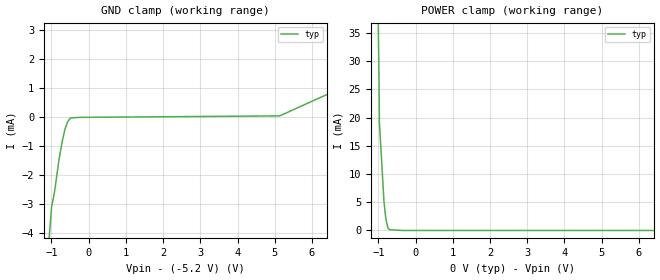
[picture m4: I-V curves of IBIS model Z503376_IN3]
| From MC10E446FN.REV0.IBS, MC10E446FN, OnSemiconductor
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| (C) COPYRIGHT 1993-2000
| MENTOR GRAPHICS CORPORATION
| ICX STANDARD LIBRARY, ICX PROJECT MODELING,
| ICX CUSTOM MODELING, ICX VENDOR MODEL
| ALL RIGHTS RESERVED.
| THE FOLLOWING ARE TRADEMARKS OR SERVICE MARKS OF
| MENTOR GRAPHICS CORPORATION:ICX (R), ICX STANDARD
| LIBRARY(R), ICX PROJECT MODELING(R), ICX CUSTOM
| MODELING(R), qualityIBIS(TM), MODELVIEWER(TM),
| AND MODELEDITOR(TM)
| ALL COPIES OF SOFTWARE, INCLUDING BUT NOT LIMITED TO
| ANY MODIFICATIONS, ENHANCEMENTS OR DERIVATIVE WORKS,
| MUST CONTAIN ALL MENTOR GRAPHICS CORPORATION'S
| NOTICES AND LEGENDS, INCLUDING THOSE EMBEDDED IN
| SOFTWARE AND THOSE AFFIXED TO SOFTWARE MEDIUM
| AND CONTAINER, AS RECEIVED FROM MENTOR GRAPHICS
| CORPORATION.
| Model Application Version 1.89 2/18/99.
[Model] Z503376_IN3
Model_type Input_ECL
Vinl = -1.475V
Vinh = -1.165V
C_comp 4.000pF NA NA
| variable typ   min   max
[Voltage Range] -5.200V NA NA
[GND Clamp Reference] -5.200V NA NA
[POWER Clamp Reference] 0.000V NA NA
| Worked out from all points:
|   GND clamp passes 1 mA (typ) near -0.73 V on its own axis
|   POWER clamp passes 1 mA (typ) near -0.76 V on its own axis
[GND Clamp]
-5.2V     -164.7mA   NA         NA
-1.152V   -5.669mA   NA         NA
-997mV    -3.105mA   NA         NA
-919mV    -2.601mA   NA         NA
-796mV    -1.463mA   NA         NA
-718mV    -892.1uA   NA         NA
-645mV    -462.2uA   NA         NA
-569mV    -170.7uA   NA         NA
-488mV    -35.19uA   NA         NA
5.132V    37.23uA    NA         NA
10.4V     3.099mA    NA         NA
[POWER Clamp]
-5.2V     2.059A     NA         NA
-982.7mV  27.25mA    NA         NA
-971.3mV  19.1mA     NA         NA
-849.3mV  5.185mA    NA         NA
-800.8mV  2.161mA    NA         NA
-742.1mV  444.4uA    NA         NA
-702.1mV  139.1uA    NA         NA
-351mV    0A         NA         NA
10.4V     0A         NA         NA
